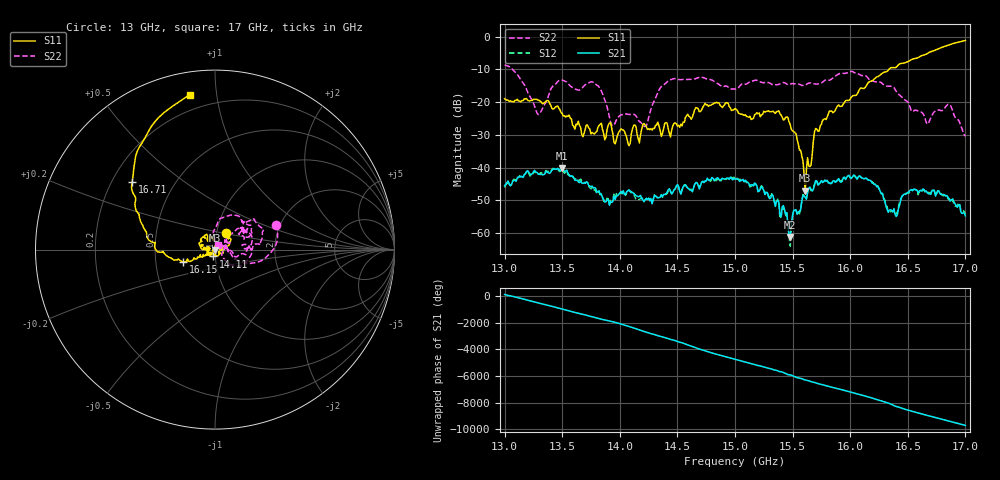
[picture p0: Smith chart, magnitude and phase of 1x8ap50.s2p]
!Keysight Technologies,P9374A,MY57211807,A.19.30.04
!Date: Friday, May 08, 2026 15:00:12
!Correction: S11(C  2-Port  )
!S21(C  2-Port  )
!S12(C  2-Port  )
!S22(C  2-Port  )
!S2P File: Measurements: S11, S21, S12, S22:
# Hz S  dB  R 50
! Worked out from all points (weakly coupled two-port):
!   401 points, 13 GHz to 17 GHz, reference 50 ohm
!   highest |S21| = -40.05 dB at 13.5 GHz (marker M1); lowest = -61.1 dB at 15.48 GHz (marker M2)
!   lowest |S11| = -47.0 dB at 15.61 GHz (marker M3), VSWR 1.01, Z = 49.8 - j0.378 ohm
!   |S11| at or under -10 dB: start of sweep to 16.34 GHz
!   |S22| runs from -30.4 to -8.7 dB; largest |S21 - S12| = 0.00085
!   S11 on the Smith chart (normalised r, x): 13 GHz: 1.11, +0.21; 14.11 GHz: 0.98, -0.07; 16.15 GHz: 0.69, -0.10; 16.71 GHz: 0.28, +0.33; 17 GHz: 0.12, +0.85
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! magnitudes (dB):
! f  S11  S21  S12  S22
! 13 GHz  -18.9  -45.5  -46.1  -8.7
! 13.29 GHz  -19.4  -41.8  -42.1  -23.8
! 13.5 GHz  -23.5  -40.1  -40.4  -13.3
! 13.67 GHz  -29.9  -44.7  -44.0  -15.8
! 13.81 GHz  -27.7  -47.3  -47.5  -15.0
! 13.94 GHz  -29.8  -50.2  -49.4  -27.2
! 14.11 GHz  -28.2  -47.6  -48.2  -23.7
! 14.22 GHz  -26.9  -49.8  -49.8  -27.4
! 14.34 GHz  -27.3  -49.1  -49.0  -16.4
! 14.7 GHz  -22.9  -45.5  -45.2  -12.3
! 15 GHz  -21.9  -43.5  -43.2  -16.0
! 15.31 GHz  -22.9  -49.2  -48.6  -14.4
! 15.48 GHz  -26.9  -61.1  -63.9  -14.5
! 15.61 GHz  -47.0  -49.1  -48.9  -14.8
! 15.67 GHz  -36.1  -47.1  -46.6  -14.2
! 15.7 GHz  -28.0  -44.0  -44.0  -14.5
! 15.82 GHz  -22.7  -44.7  -44.8  -13.3
! 16.15 GHz  -14.4  -43.6  -43.5  -12.4
! 16.34 GHz  -9.9  -53.0  -53.5  -15.1
! 16.71 GHz  -4.5  -47.0  -46.7  -24.0
! 16.86 GHz  -2.5  -49.5  -49.8  -20.7
! 17 GHz  -1.2  -54.7  -54.2  -30.4
